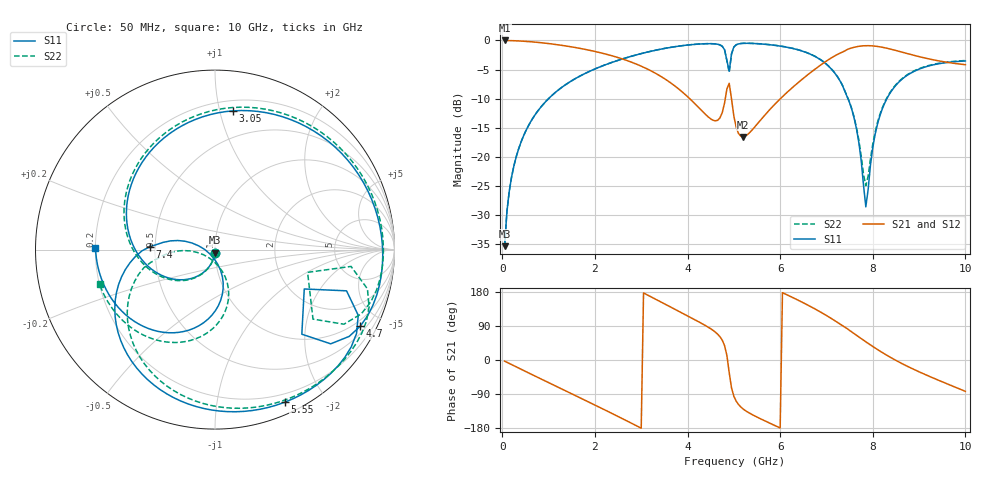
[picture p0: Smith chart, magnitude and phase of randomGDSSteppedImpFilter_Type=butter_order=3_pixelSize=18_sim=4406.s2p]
! freq	dB(S11)	phase(S11)	dB(S12)	phase(S12)
!  dB(S21)	phase(S21)	dB(S22)	phase(S22)
!S-par simulation data
#  GHz  S  DB  R 50
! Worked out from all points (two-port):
!   200 points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, 50 MHz to 10 GHz, reference 50 ohm
!   highest |S21| = -0.01 dB at 50 MHz (marker M1); lowest = -16.6 dB at 5.2 GHz (marker M2)
!   |S21| within 3 dB of the highest: start of sweep to 2.524 GHz; 7.104 GHz to 9.117 GHz (2.014 GHz wide, 24.8 % of centre)
!   lowest |S11| = -35.3 dB at 50 MHz (marker M3), VSWR 1.03, Z = 49.9 - j1.71 ohm
!   |S11| at or under -10 dB: start of sweep to 998.8 MHz; 7.464 GHz to 8.305 GHz (840.3 MHz wide, 10.7 % of centre)
!   |S22| runs from -35.3 to -0.5 dB; largest |S21 - S12| = 0
!   S11 on the Smith chart (normalised r, x): 50 MHz: 1.00, -0.03; 3.05 GHz: 0.28, +1.10; 4.7 GHz: 0.74, -3.91; 5.55 GHz: 0.11, -1.55; 7.4 GHz: 0.47, +0.02; 10 GHz: 0.20, +0.01
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0.05  -35.34 -92.7  -0.01 -3.1  -0.01 -3.1  -35.34 -92.6
0.2  -23.47 -102.6  -0.04 -12.1  -0.04 -12.1  -23.47 -102.2
0.5  -15.67 -121.0  -0.16 -30.1  -0.16 -30.1  -15.67 -120.1
1.15  -8.90 -160.4  -0.69 -68.6  -0.69 -68.6  -8.90 -158.3
1.75  -5.82 163.4  -1.48 -104.0  -1.48 -104.0  -5.82 166.9
3.05  -2.16 82.6  -4.60 176.9  -4.60 176.9  -2.16 89.2
3.4  -1.54 59.9  -6.06 154.8  -6.06 154.8  -1.53 67.4
4.15  -0.68 11.2  -10.80 106.8  -10.80 106.8  -0.67 20.0
4.7  -0.77 -27.8  -13.31 61.5  -13.31 61.5  -0.77 -18.5
4.85  -3.41 -44.3  -8.33 11.8  -8.33 11.8  -3.49 -35.4
4.9  -5.30 -23.8  -7.37 -33.4  -7.37 -33.4  -5.49 -13.8
5.05  -0.75 -30.7  -14.90 -108.5  -14.90 -108.5  -0.75 -20.6
5.2  -0.51 -43.4  -16.56 -129.2  -16.56 -129.2  -0.50 -33.3
5.55  -0.59 -65.5  -13.94 -153.7  -13.94 -153.7  -0.57 -55.3
6.7  -2.54 -132.9  -5.26 138.3  -5.26 138.3  -2.51 -121.6
7.4  -8.78 177.6  -1.79 86.7  -1.79 86.7  -8.73 -168.7
7.65  -15.26 164.4  -1.08 65.0  -1.08 65.0  -15.02 -178.3
7.85  -28.58 -139.5  -0.91 48.0  -0.91 48.0  -24.94 -125.4
8.05  -16.16 -74.7  -0.98 31.7  -0.98 31.7  -15.77 -69.5
8.35  -9.35 -89.7  -1.43 9.2  -1.43 9.2  -9.23 -80.4
9.05  -4.78 -130.6  -2.88 -34.0  -2.88 -34.0  -4.70 -117.9
10  -3.53 179.0  -4.17 -82.7  -4.17 -82.7  -3.46 -163.4
